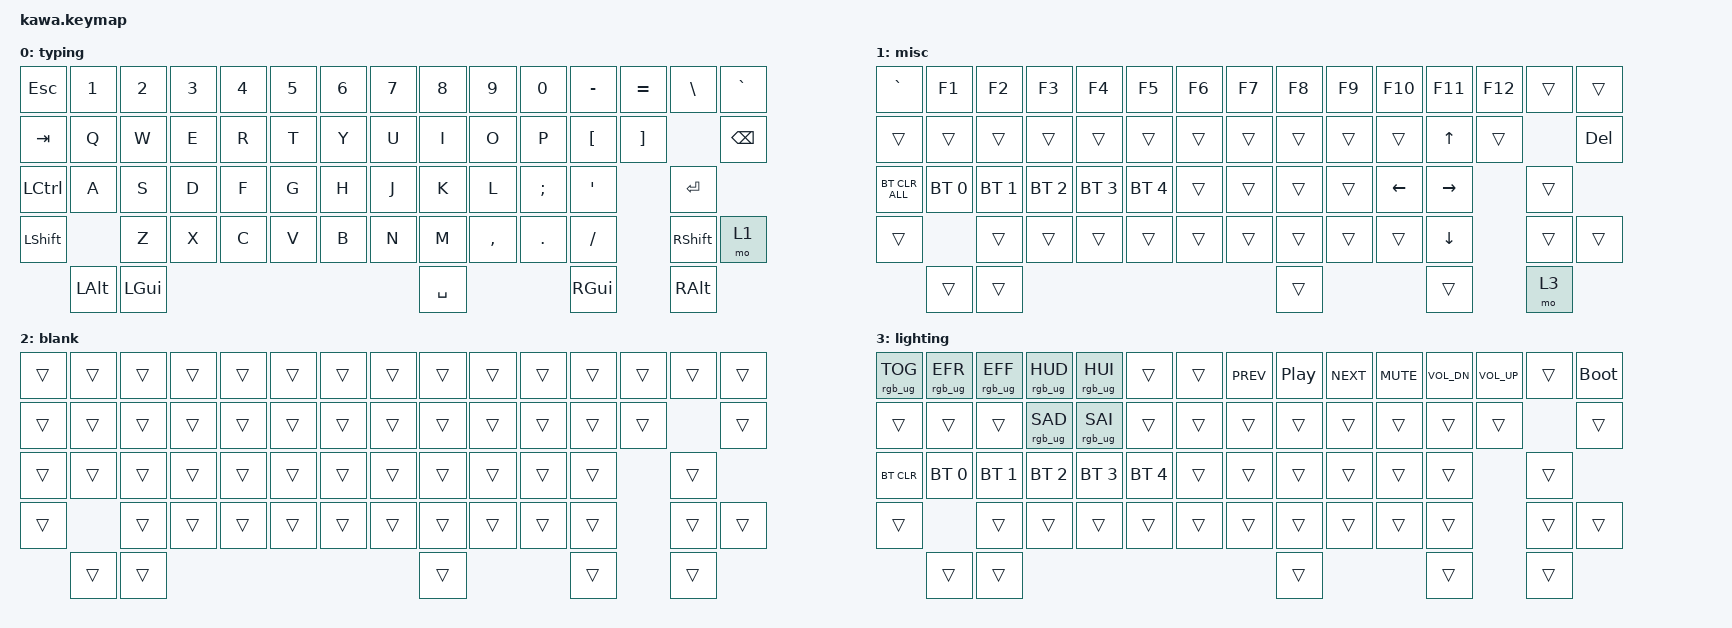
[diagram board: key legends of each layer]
#include <behaviors.dtsi>
#include <dt-bindings/zmk/bt.h>
#include <dt-bindings/zmk/keys.h>
#include <dt-bindings/zmk/rgb.h>

/ {
    conditional_layers {
        compatible = "zmk,conditional-layers";

        tri_layer {
            if-layers = <1 2>;
            then-layer = <3>;
        };
    };

    keymap {
        compatible = "zmk,keymap";

        typing {
            // -----------------------------------------------------------------------------------------
            //   | ESC   | 1     | 2     | 3     | 4     | 5     | 6     | 7     | 8     | 9     | 0     | -     | =     | \     | DEL   |
            //   | TAB   | Q     | W     | E     | R     | T     | Y     | U     | I     | O     | P     | [     | ]     | BSPC          |
            //   | CTRL  | A     | S     | D     | F     | G     | H     | J     | K     | L     | ;     | '     |         ENTER         |
            //   | SHIFT | Z     | X     | C     | V     | B     | N     | M     | ,     | .     | /     |         SHIFT        | MO(1)  |
            //           | GUI   | ALT   |                 SPACE                                 | ALT   | MO(2)   |

            bindings = <
&kp ESCAPE        &kp NUMBER_1  &kp NUMBER_2  &kp NUMBER_3  &kp NUMBER_4  &kp N5  &kp NUMBER_6  &kp N7  &kp N8     &kp N9     &kp N0         &kp MINUS      &kp EQUAL  &kp BACKSLASH  &kp GRAVE
&kp TAB           &kp Q         &kp W         &kp E         &kp R         &kp T   &kp Y         &kp U   &kp I      &kp O      &kp P          &kp LBKT       &kp RBKT                  &kp BSPC
&kp LEFT_CONTROL  &kp A         &kp S         &kp D         &kp F         &kp G   &kp H         &kp J   &kp K      &kp L      &kp SEMICOLON  &kp SQT                   &kp ENTER
&kp LSHFT                       &kp Z         &kp X         &kp C         &kp V   &kp B         &kp N   &kp M      &kp COMMA  &kp PERIOD     &kp SLASH                 &kp RSHFT      &mo 1
                  &kp LEFT_ALT  &kp LEFT_GUI                                                            &kp SPACE                            &kp RIGHT_GUI             &kp RIGHT_ALT
            >;
        };

        misc {
            // -----------------------------------------------------------------------------------------
            //   | GRAVE | F1    | F2    | F3    | F4    | F5    | F6    | F7    | F8    | F9    | F10   | F11   | F12   | INS    | TRANS  |
            //   | BT_CLR|PROF 0 |PROF 1 |PROF 2 |PROF 3 |PROF 4 | TRANS | TRANS | PRTSCR| SCROLL| PAUSE | UP    | TRANS | TRANS           |
            //   | CAPS  | VOL-  | VOL+  | MUTE  | TRANS | TRANS | *     | /     | HOME  | PGUP  | LEFT  | RIGHT |    TRANS                |
            //   | TRANS | TRANS | TRANS | TRANS | TRANS | TRANS | +     | -     | END   | PGDN  | DOWN  |         TRANS          | TRANS  |
            //           | TRANS | TRANS |                        TRANS                          | TRANS | MO(3) | 

            bindings = <
&kp GRAVE       &kp F1        &kp F2        &kp F3        &kp F4        &kp F5        &kp F6  &kp F7  &kp F8  &kp F9  &kp F10   &kp F11    &kp F12  &trans  &trans
&trans          &trans        &trans        &trans        &trans        &trans        &trans  &trans  &trans  &trans  &trans    &kp UP     &trans           &kp DEL
&bt BT_CLR_ALL  &bt BT_SEL 0  &bt BT_SEL 1  &bt BT_SEL 2  &bt BT_SEL 3  &bt BT_SEL 4  &trans  &trans  &trans  &trans  &kp LEFT  &kp RIGHT           &trans
&trans                        &trans        &trans        &trans        &trans        &trans  &trans  &trans  &trans  &trans    &kp DOWN            &trans  &trans
                &trans        &trans                                                                  &trans                    &trans              &mo 3
            >;
        };

        blank {
            // Just so you have access to layer 3

            bindings = <
&trans  &trans  &trans  &trans  &trans  &trans  &trans  &trans  &trans  &trans  &trans  &trans  &trans  &trans  &trans
&trans  &trans  &trans  &trans  &trans  &trans  &trans  &trans  &trans  &trans  &trans  &trans  &trans          &trans
&trans  &trans  &trans  &trans  &trans  &trans  &trans  &trans  &trans  &trans  &trans  &trans          &trans
&trans          &trans  &trans  &trans  &trans  &trans  &trans  &trans  &trans  &trans  &trans          &trans  &trans
        &trans  &trans                                          &trans                  &trans          &trans
            >;
        };

        lighting {
            bindings = <
&rgb_ug RGB_TOG  &rgb_ug RGB_EFR  &rgb_ug RGB_EFF  &rgb_ug RGB_HUD  &rgb_ug RGB_HUI  &trans        &trans  &kp C_PREV  &kp C_PLAY_PAUSE  &kp C_NEXT  &kp C_MUTE  &kp C_VOL_DN  &kp C_VOL_UP  &trans  &bootloader
&trans           &trans           &trans           &rgb_ug RGB_SAD  &rgb_ug RGB_SAI  &trans        &trans  &trans      &trans            &trans      &trans      &trans        &trans                &trans
&bt BT_CLR       &bt BT_SEL 0     &bt BT_SEL 1     &bt BT_SEL 2     &bt BT_SEL 3     &bt BT_SEL 4  &trans  &trans      &trans            &trans      &trans      &trans                      &trans
&trans                            &trans           &trans           &trans           &trans        &trans  &trans      &trans            &trans      &trans      &trans                      &trans  &trans
                 &trans           &trans                                                                               &trans                                    &trans                      &trans
            >;
        };
    };
};
